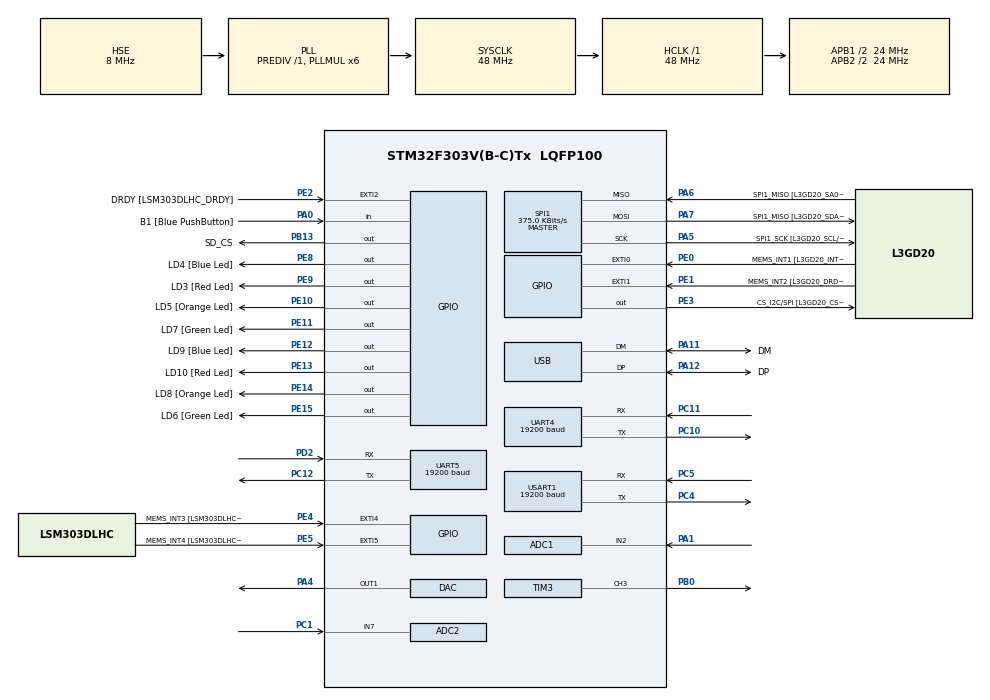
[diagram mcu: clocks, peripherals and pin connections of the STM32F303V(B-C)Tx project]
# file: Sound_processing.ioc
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ADC1.Channel-0\#ChannelRegularConversion=ADC_CHANNEL_2
ADC1.ContinuousConvMode=ENABLE
ADC1.NbrOfConversionFlag=1
ADC1.Offset-0\#ChannelRegularConversion=0
ADC1.OffsetNumber-0\#ChannelRegularConversion=ADC_OFFSET_NONE
ADC1.Rank-0\#ChannelRegularConversion=1
ADC1.SamplingTime-0\#ChannelRegularConversion=ADC_SAMPLETIME_1CYCLE_5
ADC1.master=1
ADC2.Channel-0\#ChannelRegularConversion=ADC_CHANNEL_7
ADC2.NbrOfConversionFlag=1
ADC2.Offset-0\#ChannelRegularConversion=0
ADC2.OffsetNumber-0\#ChannelRegularConversion=ADC_OFFSET_NONE
ADC2.Rank-0\#ChannelRegularConversion=1
ADC2.SamplingTime-0\#ChannelRegularConversion=ADC_SAMPLETIME_1CYCLE_5
DAC.DAC_Trigger=DAC_TRIGGER_T6_TRGO
Dma.DAC_CH1.0.Direction=DMA_MEMORY_TO_PERIPH
Dma.DAC_CH1.0.Instance=DMA1_Channel3
Dma.DAC_CH1.0.MemDataAlignment=DMA_MDATAALIGN_HALFWORD
Dma.DAC_CH1.0.MemInc=DMA_MINC_ENABLE
Dma.DAC_CH1.0.Mode=DMA_CIRCULAR
Dma.DAC_CH1.0.PeriphDataAlignment=DMA_PDATAALIGN_HALFWORD
Dma.DAC_CH1.0.PeriphInc=DMA_PINC_DISABLE
Dma.DAC_CH1.0.Priority=DMA_PRIORITY_LOW
Dma.Request0=DAC_CH1
Mcu.Family=STM32F3
Mcu.Name=STM32F303V(B-C)Tx
Mcu.Package=LQFP100
NVIC.ADC1_2_IRQn=true\:0\:0\:false\:false\:true\:true\:true
NVIC.DMA1_Channel3_IRQn=true\:0\:0\:false\:false\:true\:false\:true
NVIC.PriorityGroup=NVIC_PRIORITYGROUP_0
NVIC.TIM3_IRQn=true\:0\:0\:false\:false\:true\:true\:true
NVIC.TIM6_DAC_IRQn=true\:0\:0\:false\:false\:true\:true\:true
NVIC.UART4_IRQn=true\:0\:0\:false\:false\:true\:true\:true
NVIC.UART5_IRQn=true\:0\:0\:false\:false\:true\:true\:true
NVIC.USART1_IRQn=true\:0\:0\:false\:false\:true\:true\:true
PA0.GPIO_Label=B1 [Blue PushButton]
PA0.GPIO_Mode=GPIO_MODE_INPUT
PA0.GPIO_PuPd=GPIO_NOPULL
PA0.Signal=GPIO_Input
PA1.Mode=IN2-Single-Ended
PA1.Signal=ADC1_IN2
PA11.GPIO_Label=DM
PA11.Mode=Device
PA11.Signal=USB_DM
PA12.GPIO_Label=DP
PA12.Mode=Device
PA12.Signal=USB_DP
PA13.GPIO_Label=SWDIO
PA13.Signal=SYS_JTMS-SWDIO
PA14.GPIO_Label=SWCLK
PA14.Signal=SYS_JTCK-SWCLK
PA4.Signal=COMP_DAC1_group
PA5.GPIO_Label=SPI1_SCK [L3GD20_SCL/SPC]
PA5.GPIO_Mode=GPIO_MODE_AF_PP
PA5.GPIO_PuPd=GPIO_NOPULL
PA5.GPIO_Speed=GPIO_SPEED_FREQ_LOW
PA5.Mode=Full_Duplex_Master
PA5.Signal=SPI1_SCK
PA6.GPIO_Label=SPI1_MISO [L3GD20_SA0/SDO]
PA6.GPIO_Mode=GPIO_MODE_AF_PP
PA6.GPIO_PuPd=GPIO_NOPULL
PA6.GPIO_Speed=GPIO_SPEED_FREQ_LOW
PA6.Mode=Full_Duplex_Master
PA6.Signal=SPI1_MISO
PA7.GPIO_Label=SPI1_MISO [L3GD20_SDA/SDI/SDO]
PA7.GPIO_Mode=GPIO_MODE_AF_PP
PA7.GPIO_PuPd=GPIO_NOPULL
PA7.GPIO_Speed=GPIO_SPEED_FREQ_LOW
PA7.Mode=Full_Duplex_Master
PA7.Signal=SPI1_MOSI
PB0.Signal=S_TIM3_CH3
PB13.GPIO_Label=SD_CS
PB13.PinState=GPIO_PIN_SET
PB13.Signal=GPIO_Output
PB3.GPIO_Label=SWO
PB3.Signal=SYS_JTDO-TRACESWO
PB6.GPIO_FM6=__NULL
PB6.GPIO_Label=I2C1_SCL [LSM303DLHC_SCL]
PB6.GPIO_Mode=GPIO_MODE_AF_OD
PB6.GPIO_PuPd=GPIO_NOPULL
PB6.GPIO_Speed=GPIO_SPEED_FREQ_LOW
PB6.Signal=I2C1_SCL
PB7.GPIO_FM7=__NULL
PB7.GPIO_Label=I2C1_SDA [LSM303DLHC_SDA]
PB7.GPIO_Mode=GPIO_MODE_AF_OD
PB7.GPIO_PuPd=GPIO_NOPULL
PB7.GPIO_Speed=GPIO_SPEED_FREQ_LOW
PB7.Signal=I2C1_SDA
PC1.Signal=ADCx_IN7
PC10.Mode=Asynchronous
PC10.Signal=UART4_TX
PC11.Mode=Asynchronous
PC11.Signal=UART4_RX
PC12.Mode=Asynchronous
PC12.Signal=UART5_TX
PC14-OSC32_IN.GPIO_Label=OSC32_IN
PC14-OSC32_IN.Signal=RCC_OSC32_IN
PC15-OSC32_OUT.GPIO_Label=OSC32_OUT
PC15-OSC32_OUT.Signal=RCC_OSC32_OUT
PC4.Mode=Asynchronous
PC4.Signal=USART1_TX
PC5.Mode=Asynchronous
PC5.Signal=USART1_RX
PD2.Mode=Asynchronous
PD2.Signal=UART5_RX
PE0.GPIO_Label=MEMS_INT1 [L3GD20_INT1]
PE0.GPIO_ModeDefaultEXTI=GPIO_MODE_EVT_RISING
PE0.GPIO_PuPd=GPIO_NOPULL
PE0.Signal=GPXTI0
PE1.GPIO_Label=MEMS_INT2 [L3GD20_DRDY/INT2]
PE1.GPIO_ModeDefaultEXTI=GPIO_MODE_EVT_RISING
PE1.GPIO_PuPd=GPIO_NOPULL
PE1.Signal=GPXTI1
PE10.GPIO_Label=LD5 [Orange Led]
PE10.GPIO_ModeDefaultOutputPP=GPIO_MODE_OUTPUT_PP
PE10.GPIO_PuPd=GPIO_NOPULL
PE10.GPIO_Speed=GPIO_SPEED_FREQ_LOW
PE10.Signal=GPIO_Output
PE11.GPIO_Label=LD7 [Green Led]
PE11.GPIO_ModeDefaultOutputPP=GPIO_MODE_OUTPUT_PP
PE11.GPIO_PuPd=GPIO_NOPULL
PE11.GPIO_Speed=GPIO_SPEED_FREQ_LOW
PE11.Signal=GPIO_Output
PE12.GPIO_Label=LD9 [Blue Led]
PE12.GPIO_ModeDefaultOutputPP=GPIO_MODE_OUTPUT_PP
PE12.GPIO_PuPd=GPIO_NOPULL
PE12.GPIO_Speed=GPIO_SPEED_FREQ_LOW
PE12.Signal=GPIO_Output
PE13.GPIO_Label=LD10 [Red Led]
PE13.GPIO_ModeDefaultOutputPP=GPIO_MODE_OUTPUT_PP
PE13.GPIO_PuPd=GPIO_NOPULL
PE13.GPIO_Speed=GPIO_SPEED_FREQ_LOW
PE13.Signal=GPIO_Output
PE14.GPIO_Label=LD8 [Orange Led]
PE14.GPIO_ModeDefaultOutputPP=GPIO_MODE_OUTPUT_PP
PE14.GPIO_PuPd=GPIO_NOPULL
PE14.GPIO_Speed=GPIO_SPEED_FREQ_LOW
PE14.Signal=GPIO_Output
PE15.GPIO_Label=LD6 [Green Led]
PE15.GPIO_ModeDefaultOutputPP=GPIO_MODE_OUTPUT_PP
PE15.GPIO_PuPd=GPIO_NOPULL
PE15.GPIO_Speed=GPIO_SPEED_FREQ_LOW
PE15.Signal=GPIO_Output
PE2.GPIO_Label=DRDY [LSM303DLHC_DRDY]
PE2.GPIO_ModeDefaultEXTI=GPIO_MODE_EVT_RISING
PE2.GPIO_PuPd=GPIO_NOPULL
PE2.Signal=GPXTI2
PE3.GPIO_Label=CS_I2C/SPI [L3GD20_CS_I2C/SPI]
PE3.GPIO_ModeDefaultOutputPP=GPIO_MODE_OUTPUT_PP
PE3.GPIO_PuPd=GPIO_NOPULL
PE3.GPIO_Speed=GPIO_SPEED_FREQ_LOW
PE3.Signal=GPIO_Output
PE4.GPIO_Label=MEMS_INT3 [LSM303DLHC_INT1]
PE4.GPIO_ModeDefaultEXTI=GPIO_MODE_EVT_RISING
PE4.GPIO_PuPd=GPIO_NOPULL
PE4.Signal=GPXTI4
PE5.GPIO_Label=MEMS_INT4 [LSM303DLHC_INT2]
PE5.GPIO_ModeDefaultEXTI=GPIO_MODE_EVT_RISING
PE5.GPIO_PuPd=GPIO_NOPULL
PE5.Signal=GPXTI5
PE8.GPIO_Label=LD4 [Blue Led]
PE8.GPIO_ModeDefaultOutputPP=GPIO_MODE_OUTPUT_PP
PE8.GPIO_PuPd=GPIO_NOPULL
PE8.GPIO_Speed=GPIO_SPEED_FREQ_LOW
PE8.Signal=GPIO_Output
PE9.GPIO_Label=LD3 [Red Led]
PE9.GPIO_ModeDefaultOutputPP=GPIO_MODE_OUTPUT_PP
PE9.GPIO_PuPd=GPIO_NOPULL
PE9.GPIO_Speed=GPIO_SPEED_FREQ_LOW
PE9.Signal=GPIO_Output
PF0-OSC_IN.GPIO_Label=OSC_IN
PF0-OSC_IN.Mode=HSE-External-Clock-Source
PF0-OSC_IN.Signal=RCC_OSC_IN
PF1-OSC_OUT.GPIO_Label=OSC_OUT
PF1-OSC_OUT.Signal=RCC_OSC_OUT
ProjectManager.HeapSize=0x200
ProjectManager.StackSize=0x400
ProjectManager.TargetToolchain=MDK-ARM V5
RCC.AHBFreq_Value=48000000
RCC.APB1CLKDivider=RCC_HCLK_DIV2
RCC.APB1Freq_Value=24000000
RCC.APB1TimFreq_Value=48000000
RCC.APB2CLKDivider=RCC_HCLK_DIV2
RCC.APB2Freq_Value=24000000
RCC.APB2TimFreq_Value=48000000
RCC.CortexFreq_Value=48000000
RCC.HCLKFreq_Value=48000000
RCC.HSE_VALUE=8000000
RCC.HSI_VALUE=8000000
RCC.LSE_VALUE=32768
RCC.PLLMUL=RCC_PLL_MUL6
RCC.SYSCLKFreq_VALUE=48000000
RCC.SYSCLKSourceVirtual=RCC_SYSCLKSOURCE_PLLCLK
RCC.USBFreq_Value=48000000
SH.ADCx_IN7.0=ADC2_IN7,IN7-Single-Ended
SH.COMP_DAC1_group.0=DAC_OUT1,DAC_OUT1
SH.S_TIM3_CH3.0=TIM3_CH3,PWM Generation3 CH3
SPI1.BaudRatePrescaler=SPI_BAUDRATEPRESCALER_64
SPI1.CalculateBaudRate=375.0 KBits/s
SPI1.DataSize=SPI_DATASIZE_8BIT
SPI1.Direction=SPI_DIRECTION_2LINES
SPI1.Mode=SPI_MODE_MASTER
SPI1.VirtualType=VM_MASTER
TIM2.Period=3
TIM2.Prescaler=100
TIM2.TIM_MasterOutputTrigger=TIM_TRGO_UPDATE
TIM3.Channel-PWM\ Generation3\ CH3=TIM_CHANNEL_3
TIM3.Period=499
TIM3.Prescaler=48000
TIM6.Period=32768
TIM6.TIM_MasterOutputTrigger=TIM_TRGO_UPDATE
UART4.BaudRate=19200
UART5.BaudRate=19200
USART1.BaudRate=19200
USART1.VirtualMode-Asynchronous=VM_ASYNC
VP_FATFS_VS_Generic.Mode=User_defined
VP_TIM2_VS_ClockSourceINT.Mode=Internal
VP_TIM3_VS_ClockSourceINT.Mode=Internal
VP_TIM6_VS_ClockSourceINT.Mode=Enable_Timer
board=STM32F3DISCOVERY

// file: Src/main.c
/* USER CODE BEGIN Header */
/**
  ******************************************************************************
  * @file           : main.c
  * @brief          : Main program body
  ******************************************************************************
  * @attention
  *
  * <h2><center>&copy; Copyright (c) 2019 STMicroelectronics.
  * All rights reserved.</center></h2>
  *
  * This software component is licensed by ST under Ultimate Liberty license
  * SLA0044, the "License"; You may not use this file except in compliance with
  * the License. You may obtain a copy of the License at:
  *                             www.st.com/SLA0044
  *
  ******************************************************************************
  */
/* USER CODE END Header */

#include "main.h"
#include "fatfs.h"

/* USER CODE BEGIN Includes */
#include "sound_handler.h"
#include "uart.h"
/* USER CODE END Includes */

ADC_HandleTypeDef hadc1;
ADC_HandleTypeDef hadc2;

DAC_HandleTypeDef hdac;
DMA_HandleTypeDef hdma_dac_ch1;

SPI_HandleTypeDef hspi1;

TIM_HandleTypeDef htim2;
TIM_HandleTypeDef htim3;
TIM_HandleTypeDef htim6;

UART_HandleTypeDef huart4;
UART_HandleTypeDef huart5;
UART_HandleTypeDef huart1;

PCD_HandleTypeDef hpcd_USB_FS;

/* USER CODE BEGIN PV */
/*
*		####################################################
*					General variables
*		####################################################
*/

CMD_PCK cmd_packet = {GEN_non,0x12,25,50,30,ACQ_non, 10};

SOUND_PCK sinus_info = {&htim3,
												&htim2,
												&htim6,
												&hdac,
												&hadc1,
												&hadc2,
												&huart4,
												&cmd_packet
												};

/*
*		####################################################
*					General variables END
*		####################################################
*/
/* USER CODE END PV */

void SystemClock_Config(void);
static void MX_GPIO_Init(void);
static void MX_DMA_Init(void);
static void MX_USART1_UART_Init(void);
static void MX_UART4_Init(void);
static void MX_TIM3_Init(void);
static void MX_TIM6_Init(void);
static void MX_DAC_Init(void);
static void MX_USB_PCD_Init(void);
static void MX_ADC1_Init(void);
static void MX_ADC2_Init(void);
static void MX_SPI1_Init(void);
static void MX_TIM2_Init(void);
static void MX_UART5_Init(void);

int main(void)
{

  /* MCU Configuration--------------------------------------------------------*/

  /* Reset of all peripherals, Initializes the Flash interface and the Systick. */
  HAL_Init();

  /* Configure the system clock */
  SystemClock_Config();

  /* Initialize all configured peripherals */
  MX_GPIO_Init();
  MX_DMA_Init();
  MX_FATFS_Init();
  MX_USART1_UART_Init();
  MX_UART4_Init();
  MX_TIM3_Init();
  MX_TIM6_Init();
  MX_DAC_Init();
  MX_USB_PCD_Init();
  MX_ADC1_Init();
  MX_ADC2_Init();
  MX_SPI1_Init();
  MX_TIM2_Init();
  MX_UART5_Init();
  /* USER CODE BEGIN 2 */
	uart_init(&huart5);

	init_sound_handler(&sinus_info);

	HAL_ADC_Start_IT(&hadc1);

  /* USER CODE END 2 */

  /* Infinite loop */
  while (1)
  {
		/*ret = HAL_UART_Transmit(&huart4, test, 4, 10);
		if(ret == HAL_TIMEOUT)
		{
			HAL_GPIO_TogglePin(GPIOE, GPIO_PIN_8);
		}*/

		//sinus_generator_process(&sinus_info);

		/* Looking for cmds provide by 8051 Slave */
		uart_cmd_process(&cmd_packet);

		/* Sound Generation and Acquisition process */
		sound_handler_process(&sinus_info);

		/* Recopy signal on ADC1 Input during all processing */
		//signal_recopieur();
  }
}

void SystemClock_Config(void)
{
  RCC_OscInitTypeDef RCC_OscInitStruct = {0};
  RCC_ClkInitTypeDef RCC_ClkInitStruct = {0};
  RCC_PeriphCLKInitTypeDef PeriphClkInit = {0};

  /** Initializes the CPU, AHB and APB busses clocks
  */
  RCC_OscInitStruct.OscillatorType = RCC_OSCILLATORTYPE_HSE;
  RCC_OscInitStruct.HSEState = RCC_HSE_BYPASS;
  RCC_OscInitStruct.HSEPredivValue = RCC_HSE_PREDIV_DIV1;
  RCC_OscInitStruct.HSIState = RCC_HSI_ON;
  RCC_OscInitStruct.PLL.PLLState = RCC_PLL_ON;
  RCC_OscInitStruct.PLL.PLLSource = RCC_PLLSOURCE_HSE;
  RCC_OscInitStruct.PLL.PLLMUL = RCC_PLL_MUL6;
  if (HAL_RCC_OscConfig(&RCC_OscInitStruct) != HAL_OK)
  {
    Error_Handler();
  }
  /** Initializes the CPU, AHB and APB busses clocks
  */
  RCC_ClkInitStruct.ClockType = RCC_CLOCKTYPE_HCLK|RCC_CLOCKTYPE_SYSCLK
                              |RCC_CLOCKTYPE_PCLK1|RCC_CLOCKTYPE_PCLK2;
  RCC_ClkInitStruct.SYSCLKSource = RCC_SYSCLKSOURCE_PLLCLK;
  RCC_ClkInitStruct.AHBCLKDivider = RCC_SYSCLK_DIV1;
  RCC_ClkInitStruct.APB1CLKDivider = RCC_HCLK_DIV2;
  RCC_ClkInitStruct.APB2CLKDivider = RCC_HCLK_DIV2;

  if (HAL_RCC_ClockConfig(&RCC_ClkInitStruct, FLASH_LATENCY_1) != HAL_OK)
  {
    Error_Handler();
  }
  PeriphClkInit.PeriphClockSelection = RCC_PERIPHCLK_USB|RCC_PERIPHCLK_USART1
                              |RCC_PERIPHCLK_UART4|RCC_PERIPHCLK_UART5
                              |RCC_PERIPHCLK_ADC12;
  PeriphClkInit.Usart1ClockSelection = RCC_USART1CLKSOURCE_PCLK2;
  PeriphClkInit.Uart4ClockSelection = RCC_UART4CLKSOURCE_PCLK1;
  PeriphClkInit.Uart5ClockSelection = RCC_UART5CLKSOURCE_PCLK1;
  PeriphClkInit.Adc12ClockSelection = RCC_ADC12PLLCLK_DIV1;
  PeriphClkInit.USBClockSelection = RCC_USBCLKSOURCE_PLL;
  if (HAL_RCCEx_PeriphCLKConfig(&PeriphClkInit) != HAL_OK)
  {
    Error_Handler();
  }
}

static void MX_ADC1_Init(void)
{

  ADC_MultiModeTypeDef multimode = {0};
  ADC_ChannelConfTypeDef sConfig = {0};

  /** Common config
  */
  hadc1.Instance = ADC1;
  hadc1.Init.ClockPrescaler = ADC_CLOCK_ASYNC_DIV1;
  hadc1.Init.Resolution = ADC_RESOLUTION_8B;
  hadc1.Init.ScanConvMode = ADC_SCAN_DISABLE;
  hadc1.Init.ContinuousConvMode = ENABLE;
  hadc1.Init.DiscontinuousConvMode = DISABLE;
  hadc1.Init.ExternalTrigConvEdge = ADC_EXTERNALTRIGCONVEDGE_NONE;
  hadc1.Init.ExternalTrigConv = ADC_SOFTWARE_START;
  hadc1.Init.DataAlign = ADC_DATAALIGN_RIGHT;
  hadc1.Init.NbrOfConversion = 1;
  hadc1.Init.DMAContinuousRequests = DISABLE;
  hadc1.Init.EOCSelection = ADC_EOC_SINGLE_CONV;
  hadc1.Init.LowPowerAutoWait = DISABLE;
  hadc1.Init.Overrun = ADC_OVR_DATA_OVERWRITTEN;
  if (HAL_ADC_Init(&hadc1) != HAL_OK)
  {
    Error_Handler();
  }
  /** Configure the ADC multi-mode
  */
  multimode.Mode = ADC_MODE_INDEPENDENT;
  if (HAL_ADCEx_MultiModeConfigChannel(&hadc1, &multimode) != HAL_OK)
  {
    Error_Handler();
  }
  /** Configure Regular Channel
  */
  sConfig.Channel = ADC_CHANNEL_2;
  sConfig.Rank = ADC_REGULAR_RANK_1;
  sConfig.SingleDiff = ADC_SINGLE_ENDED;
  sConfig.SamplingTime = ADC_SAMPLETIME_1CYCLE_5;
  sConfig.OffsetNumber = ADC_OFFSET_NONE;
  sConfig.Offset = 0;
  if (HAL_ADC_ConfigChannel(&hadc1, &sConfig) != HAL_OK)
  {
    Error_Handler();
  }

}

static void MX_ADC2_Init(void)
{

  ADC_ChannelConfTypeDef sConfig = {0};

  /** Common config
  */
  hadc2.Instance = ADC2;
  hadc2.Init.ClockPrescaler = ADC_CLOCK_ASYNC_DIV1;
  hadc2.Init.Resolution = ADC_RESOLUTION_12B;
  hadc2.Init.ScanConvMode = ADC_SCAN_DISABLE;
  hadc2.Init.ContinuousConvMode = DISABLE;
  hadc2.Init.DiscontinuousConvMode = DISABLE;
  hadc2.Init.ExternalTrigConvEdge = ADC_EXTERNALTRIGCONVEDGE_NONE;
  hadc2.Init.ExternalTrigConv = ADC_SOFTWARE_START;
  hadc2.Init.DataAlign = ADC_DATAALIGN_RIGHT;
  hadc2.Init.NbrOfConversion = 1;
  hadc2.Init.DMAContinuousRequests = DISABLE;
  hadc2.Init.EOCSelection = ADC_EOC_SINGLE_CONV;
  hadc2.Init.LowPowerAutoWait = DISABLE;
  hadc2.Init.Overrun = ADC_OVR_DATA_OVERWRITTEN;
  if (HAL_ADC_Init(&hadc2) != HAL_OK)
  {
    Error_Handler();
  }
  /** Configure Regular Channel
  */
  sConfig.Channel = ADC_CHANNEL_7;
  sConfig.Rank = ADC_REGULAR_RANK_1;
  sConfig.SingleDiff = ADC_SINGLE_ENDED;
  sConfig.SamplingTime = ADC_SAMPLETIME_1CYCLE_5;
  sConfig.OffsetNumber = ADC_OFFSET_NONE;
  sConfig.Offset = 0;
  if (HAL_ADC_ConfigChannel(&hadc2, &sConfig) != HAL_OK)
  {
    Error_Handler();
  }

}

static void MX_DAC_Init(void)
{

  DAC_ChannelConfTypeDef sConfig = {0};

  /** DAC Initialization
  */
  hdac.Instance = DAC;
  if (HAL_DAC_Init(&hdac) != HAL_OK)
  {
    Error_Handler();
  }
  /** DAC channel OUT1 config
  */
  sConfig.DAC_Trigger = DAC_TRIGGER_T6_TRGO;
  sConfig.DAC_OutputBuffer = DAC_OUTPUTBUFFER_ENABLE;
  if (HAL_DAC_ConfigChannel(&hdac, &sConfig, DAC_CHANNEL_1) != HAL_OK)
  {
    Error_Handler();
  }

}

static void MX_SPI1_Init(void)
{

  /* SPI1 parameter configuration*/
  hspi1.Instance = SPI1;
  hspi1.Init.Mode = SPI_MODE_MASTER;
  hspi1.Init.Direction = SPI_DIRECTION_2LINES;
  hspi1.Init.DataSize = SPI_DATASIZE_8BIT;
  hspi1.Init.CLKPolarity = SPI_POLARITY_LOW;
  hspi1.Init.CLKPhase = SPI_PHASE_1EDGE;
  hspi1.Init.NSS = SPI_NSS_SOFT;
  hspi1.Init.BaudRatePrescaler = SPI_BAUDRATEPRESCALER_64;
  hspi1.Init.FirstBit = SPI_FIRSTBIT_MSB;
  hspi1.Init.TIMode = SPI_TIMODE_DISABLE;
  hspi1.Init.CRCCalculation = SPI_CRCCALCULATION_DISABLE;
  hspi1.Init.CRCPolynomial = 7;
  hspi1.Init.CRCLength = SPI_CRC_LENGTH_DATASIZE;
  hspi1.Init.NSSPMode = SPI_NSS_PULSE_ENABLE;
  if (HAL_SPI_Init(&hspi1) != HAL_OK)
  {
    Error_Handler();
  }

}

static void MX_TIM2_Init(void)
{

  TIM_ClockConfigTypeDef sClockSourceConfig = {0};
  TIM_MasterConfigTypeDef sMasterConfig = {0};

  htim2.Instance = TIM2;
  htim2.Init.Prescaler = 100;
  htim2.Init.CounterMode = TIM_COUNTERMODE_UP;
  htim2.Init.Period = 3;
  htim2.Init.ClockDivision = TIM_CLOCKDIVISION_DIV1;
  htim2.Init.AutoReloadPreload = TIM_AUTORELOAD_PRELOAD_DISABLE;
  if (HAL_TIM_Base_Init(&htim2) != HAL_OK)
  {
    Error_Handler();
  }
  sClockSourceConfig.ClockSource = TIM_CLOCKSOURCE_INTERNAL;
  if (HAL_TIM_ConfigClockSource(&htim2, &sClockSourceConfig) != HAL_OK)
  {
    Error_Handler();
  }
  sMasterConfig.MasterOutputTrigger = TIM_TRGO_UPDATE;
  sMasterConfig.MasterSlaveMode = TIM_MASTERSLAVEMODE_DISABLE;
  if (HAL_TIMEx_MasterConfigSynchronization(&htim2, &sMasterConfig) != HAL_OK)
  {
    Error_Handler();
  }

}

static void MX_TIM3_Init(void)
{

  TIM_ClockConfigTypeDef sClockSourceConfig = {0};
  TIM_MasterConfigTypeDef sMasterConfig = {0};
  TIM_OC_InitTypeDef sConfigOC = {0};

  htim3.Instance = TIM3;
  htim3.Init.Prescaler = 4800;
  htim3.Init.CounterMode = TIM_COUNTERMODE_UP;
  htim3.Init.Period = 499;
  htim3.Init.ClockDivision = TIM_CLOCKDIVISION_DIV1;
  htim3.Init.AutoReloadPreload = TIM_AUTORELOAD_PRELOAD_DISABLE;
  if (HAL_TIM_Base_Init(&htim3) != HAL_OK)
  {
    Error_Handler();
  }
  sClockSourceConfig.ClockSource = TIM_CLOCKSOURCE_INTERNAL;
  if (HAL_TIM_ConfigClockSource(&htim3, &sClockSourceConfig) != HAL_OK)
  {
    Error_Handler();
  }
  if (HAL_TIM_PWM_Init(&htim3) != HAL_OK)
  {
    Error_Handler();
  }
  sMasterConfig.MasterOutputTrigger = TIM_TRGO_RESET;
  sMasterConfig.MasterSlaveMode = TIM_MASTERSLAVEMODE_DISABLE;
  if (HAL_TIMEx_MasterConfigSynchronization(&htim3, &sMasterConfig) != HAL_OK)
  {
    Error_Handler();
  }
  sConfigOC.OCMode = TIM_OCMODE_PWM1;
  sConfigOC.Pulse = 0;
  sConfigOC.OCPolarity = TIM_OCPOLARITY_HIGH;
  sConfigOC.OCFastMode = TIM_OCFAST_DISABLE;
  if (HAL_TIM_PWM_ConfigChannel(&htim3, &sConfigOC, TIM_CHANNEL_3) != HAL_OK)
  {
    Error_Handler();
  }
  HAL_TIM_MspPostInit(&htim3);

}

static void MX_TIM6_Init(void)
{

  TIM_MasterConfigTypeDef sMasterConfig = {0};

  htim6.Instance = TIM6;
  htim6.Init.Prescaler = 0;
  htim6.Init.CounterMode = TIM_COUNTERMODE_UP;
  htim6.Init.Period = 32768;
  htim6.Init.AutoReloadPreload = TIM_AUTORELOAD_PRELOAD_DISABLE;
  if (HAL_TIM_Base_Init(&htim6) != HAL_OK)
  {
    Error_Handler();
  }
  sMasterConfig.MasterOutputTrigger = TIM_TRGO_UPDATE;
  sMasterConfig.MasterSlaveMode = TIM_MASTERSLAVEMODE_DISABLE;
  if (HAL_TIMEx_MasterConfigSynchronization(&htim6, &sMasterConfig) != HAL_OK)
  {
    Error_Handler();
  }

}

static void MX_UART4_Init(void)
{

  huart4.Instance = UART4;
  huart4.Init.BaudRate = 19200;
  huart4.Init.WordLength = UART_WORDLENGTH_8B;
  huart4.Init.StopBits = UART_STOPBITS_1;
  huart4.Init.Parity = UART_PARITY_NONE;
  huart4.Init.Mode = UART_MODE_TX_RX;
  huart4.Init.HwFlowCtl = UART_HWCONTROL_NONE;
  huart4.Init.OverSampling = UART_OVERSAMPLING_16;
  huart4.Init.OneBitSampling = UART_ONE_BIT_SAMPLE_DISABLE;
  huart4.AdvancedInit.AdvFeatureInit = UART_ADVFEATURE_NO_INIT;
  if (HAL_UART_Init(&huart4) != HAL_OK)
  {
    Error_Handler();
  }

}

static void MX_UART5_Init(void)
{

  huart5.Instance = UART5;
  huart5.Init.BaudRate = 19200;
  huart5.Init.WordLength = UART_WORDLENGTH_8B;
  huart5.Init.StopBits = UART_STOPBITS_1;
  huart5.Init.Parity = UART_PARITY_NONE;
  huart5.Init.Mode = UART_MODE_TX_RX;
  huart5.Init.HwFlowCtl = UART_HWCONTROL_NONE;
  huart5.Init.OverSampling = UART_OVERSAMPLING_16;
  huart5.Init.OneBitSampling = UART_ONE_BIT_SAMPLE_DISABLE;
  huart5.AdvancedInit.AdvFeatureInit = UART_ADVFEATURE_NO_INIT;
  if (HAL_UART_Init(&huart5) != HAL_OK)
  {
    Error_Handler();
  }

}

static void MX_USART1_UART_Init(void)
{

  huart1.Instance = USART1;
  huart1.Init.BaudRate = 19200;
  huart1.Init.WordLength = UART_WORDLENGTH_8B;
  huart1.Init.StopBits = UART_STOPBITS_1;
  huart1.Init.Parity = UART_PARITY_NONE;
  huart1.Init.Mode = UART_MODE_TX_RX;
  huart1.Init.HwFlowCtl = UART_HWCONTROL_NONE;
  huart1.Init.OverSampling = UART_OVERSAMPLING_16;
  huart1.Init.OneBitSampling = UART_ONE_BIT_SAMPLE_DISABLE;
  huart1.AdvancedInit.AdvFeatureInit = UART_ADVFEATURE_NO_INIT;
  if (HAL_UART_Init(&huart1) != HAL_OK)
  {
    Error_Handler();
  }

}

static void MX_USB_PCD_Init(void)
{

  hpcd_USB_FS.Instance = USB;
  hpcd_USB_FS.Init.dev_endpoints = 8;
  hpcd_USB_FS.Init.speed = PCD_SPEED_FULL;
  hpcd_USB_FS.Init.phy_itface = PCD_PHY_EMBEDDED;
  hpcd_USB_FS.Init.low_power_enable = DISABLE;
  hpcd_USB_FS.Init.battery_charging_enable = DISABLE;
  if (HAL_PCD_Init(&hpcd_USB_FS) != HAL_OK)
  {
    Error_Handler();
  }

}

static void MX_DMA_Init(void)
{
  /* DMA controller clock enable */
  __HAL_RCC_DMA1_CLK_ENABLE();

  /* DMA interrupt init */
  /* DMA1_Channel3_IRQn interrupt configuration */
  HAL_NVIC_SetPriority(DMA1_Channel3_IRQn, 0, 0);
  HAL_NVIC_EnableIRQ(DMA1_Channel3_IRQn);

}

static void MX_GPIO_Init(void)
{
  GPIO_InitTypeDef GPIO_InitStruct = {0};

  /* GPIO Ports Clock Enable */
  __HAL_RCC_GPIOE_CLK_ENABLE();
  __HAL_RCC_GPIOC_CLK_ENABLE();
  __HAL_RCC_GPIOF_CLK_ENABLE();
  __HAL_RCC_GPIOA_CLK_ENABLE();
  __HAL_RCC_GPIOB_CLK_ENABLE();
  __HAL_RCC_GPIOD_CLK_ENABLE();

  /*Configure GPIO pin Output Level */
  HAL_GPIO_WritePin(GPIOE, CS_I2C_SPI_Pin|LD4_Pin|LD3_Pin|LD5_Pin
                          |LD7_Pin|LD9_Pin|LD10_Pin|LD8_Pin
                          |LD6_Pin, GPIO_PIN_RESET);

  /*Configure GPIO pin Output Level */
  HAL_GPIO_WritePin(SD_CS_GPIO_Port, SD_CS_Pin, GPIO_PIN_SET);

  /*Configure GPIO pins : DRDY_Pin MEMS_INT3_Pin MEMS_INT4_Pin MEMS_INT1_Pin
                           MEMS_INT2_Pin */
  GPIO_InitStruct.Pin = DRDY_Pin|MEMS_INT3_Pin|MEMS_INT4_Pin|MEMS_INT1_Pin
                          |MEMS_INT2_Pin;
  GPIO_InitStruct.Mode = GPIO_MODE_EVT_RISING;
  GPIO_InitStruct.Pull = GPIO_NOPULL;
  HAL_GPIO_Init(GPIOE, &GPIO_InitStruct);

  /*Configure GPIO pins : CS_I2C_SPI_Pin LD4_Pin LD3_Pin LD5_Pin
                           LD7_Pin LD9_Pin LD10_Pin LD8_Pin
                           LD6_Pin */
  GPIO_InitStruct.Pin = CS_I2C_SPI_Pin|LD4_Pin|LD3_Pin|LD5_Pin
                          |LD7_Pin|LD9_Pin|LD10_Pin|LD8_Pin
                          |LD6_Pin;
  GPIO_InitStruct.Mode = GPIO_MODE_OUTPUT_PP;
  GPIO_InitStruct.Pull = GPIO_NOPULL;
  GPIO_InitStruct.Speed = GPIO_SPEED_FREQ_LOW;
  HAL_GPIO_Init(GPIOE, &GPIO_InitStruct);

  /*Configure GPIO pin : B1_Pin */
  GPIO_InitStruct.Pin = B1_Pin;
  GPIO_InitStruct.Mode = GPIO_MODE_INPUT;
  GPIO_InitStruct.Pull = GPIO_NOPULL;
  HAL_GPIO_Init(B1_GPIO_Port, &GPIO_InitStruct);

  /*Configure GPIO pin : SD_CS_Pin */
  GPIO_InitStruct.Pin = SD_CS_Pin;
  GPIO_InitStruct.Mode = GPIO_MODE_OUTPUT_PP;
  GPIO_InitStruct.Pull = GPIO_NOPULL;
  GPIO_InitStruct.Speed = GPIO_SPEED_FREQ_LOW;
  HAL_GPIO_Init(SD_CS_GPIO_Port, &GPIO_InitStruct);

  /*Configure GPIO pins : I2C1_SCL_Pin I2C1_SDA_Pin */
  GPIO_InitStruct.Pin = I2C1_SCL_Pin|I2C1_SDA_Pin;
  GPIO_InitStruct.Mode = GPIO_MODE_AF_OD;
  GPIO_InitStruct.Pull = GPIO_PULLUP;
  GPIO_InitStruct.Speed = GPIO_SPEED_FREQ_LOW;
  GPIO_InitStruct.Alternate = GPIO_AF4_I2C1;
  HAL_GPIO_Init(GPIOB, &GPIO_InitStruct);

}

void Error_Handler(void)
{
}

/************************ (C) COPYRIGHT STMicroelectronics *****END OF FILE****/
